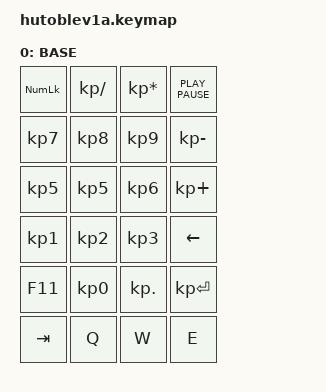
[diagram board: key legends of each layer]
#include <behaviors.dtsi>
#include <dt-bindings/zmk/keys.h>
#include <dt-bindings/zmk/outputs.h>

#define BASE 0

/ {
   keymap {
        compatible = "zmk,keymap";
        base_layer {
            label= "BASE";
                bindings = <
                /*Row 1*/
                &kp KP_NLCK  &kp KP_DIVIDE  &kp KP_MULTIPLY &kp K_PLAY_PAUSE
                /*Row 3*/
                &kp KP_N7    &kp KP_N8      &kp KP_N9       &kp KP_MINUS
                /*Row 4*/
                &kp KP_N5    &kp KP_N5      &kp KP_N6       &kp KP_PLUS
                /*Row 5*/
                &kp KP_N1    &kp KP_N2      &kp KP_N3       &kp LEFT
                /*Row 6*/
                &kp F11      &kp KP_N0      &kp KP_DOT      &kp KP_ENTER
                /*Row 2*/
                &kp TAB      &kp Q       &kp W       &kp E
                        >;
                };
        };
};
